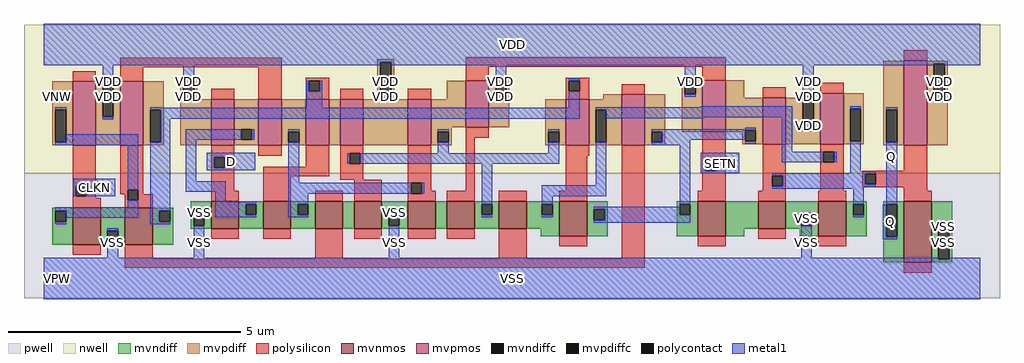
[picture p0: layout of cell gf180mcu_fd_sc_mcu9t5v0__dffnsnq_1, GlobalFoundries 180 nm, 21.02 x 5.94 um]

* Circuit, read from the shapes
.subckt gf180mcu_fd_sc_mcu9t5v0__dffnsnq_1 D SETN CLKN Q VDD VNW VPW VSS
XM1 VSS CLKN n1 VPW nfet_06v0 w=0.79u l=0.6u
XM2 n2 n1 VSS VPW nfet_06v0 w=0.79u l=0.6u
XM3 n3 D VSS VPW nfet_06v0 w=0.59u l=0.6u
XM4 n4 n2 n3 VPW nfet_06v0 w=0.59u l=0.6u
XM5 n5 n1 n4 VPW nfet_06v0 w=0.59u l=0.6u
XM6 VSS n6 n5 VPW nfet_06v0 w=0.59u l=0.6u
XM7 n7 n4 VSS VPW nfet_06v0 w=0.59u l=0.6u
XM8 n6 SETN n7 VPW nfet_06v0 w=0.59u l=0.6u
XM9 n8 n1 n6 VPW nfet_06v0 w=0.59u l=0.6u
XM10 n9 n2 n8 VPW nfet_06v0 w=0.75u l=0.6u
XM11 n10 SETN n9 VPW nfet_06v0 w=0.75u l=0.6u
XM12 VSS n11 n10 VPW nfet_06v0 w=0.59u l=0.6u
XM13 n11 n8 VSS VPW nfet_06v0 w=0.75u l=0.6u
XM14 VSS n11 Q VPW nfet_06v0 w=1.32u l=0.6u
XM15 VDD CLKN n1 VNW pfet_06v0 w=1.38u l=0.5u
XM16 n2 n1 VDD VNW pfet_06v0 w=1.38u l=0.5u
XM17 n3 D VDD VNW pfet_06v0 w=1u l=0.5u
XM18 n4 n1 n3 VNW pfet_06v0 w=1u l=0.5u
XM19 n12 n2 n4 VNW pfet_06v0 w=1u l=0.5u
XM20 VDD n6 n12 VNW pfet_06v0 w=1u l=0.5u
XM21 n6 n4 VDD VNW pfet_06v0 w=1u l=0.5u
XM22 VDD SETN n6 VNW pfet_06v0 w=1u l=0.5u
XM23 n8 n2 n6 VNW pfet_06v0 w=1u l=0.5u
XM24 n9 n1 n8 VNW pfet_06v0 w=1.1u l=0.5u
XM25 n9 SETN VDD VNW pfet_06v0 w=1.1u l=0.5u
XM26 VDD n11 n9 VNW pfet_06v0 w=1u l=0.5u
XM27 n11 n8 VDD VNW pfet_06v0 w=1.1u l=0.5u
XM28 VDD n11 Q VNW pfet_06v0 w=1.83u l=0.5u
.ends

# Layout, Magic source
magic
tech gf180mcuD
magscale 1 10
<< nwell >>
rect -86 453 4118 1094
<< pwell >>
rect -86 -86 4118 453
<< mvnmos >>
rect 124 146 244 304
rect 348 146 468 304
rect 720 215 840 333
rect 944 215 1064 333
rect 1168 215 1288 333
rect 1336 215 1456 333
rect 1568 215 1688 333
rect 1736 215 1856 333
rect 1960 215 2080 333
rect 2220 183 2340 333
rect 2816 183 2936 333
rect 3076 215 3196 333
rect 3336 183 3456 333
rect 3704 69 3824 333
<< mvpmos >>
rect 124 573 224 849
rect 328 573 428 849
rect 720 573 820 773
rect 924 573 1024 773
rect 1128 573 1228 773
rect 1276 573 1376 773
rect 1568 573 1668 773
rect 1816 651 1916 851
rect 2248 573 2348 773
rect 2488 573 2588 793
rect 2836 633 2936 853
rect 3096 579 3196 779
rect 3344 579 3444 799
rect 3704 573 3804 939
<< mvndiff >>
rect 36 291 124 304
rect 36 245 49 291
rect 95 245 124 291
rect 36 146 124 245
rect 244 205 348 304
rect 244 159 273 205
rect 319 159 348 205
rect 244 146 348 159
rect 468 291 556 304
rect 468 245 497 291
rect 543 245 556 291
rect 468 146 556 245
rect 632 274 720 333
rect 632 228 645 274
rect 691 228 720 274
rect 632 215 720 228
rect 840 320 944 333
rect 840 274 869 320
rect 915 274 944 320
rect 840 215 944 274
rect 1064 320 1168 333
rect 1064 274 1093 320
rect 1139 274 1168 320
rect 1064 215 1168 274
rect 1288 215 1336 333
rect 1456 274 1568 333
rect 1456 228 1485 274
rect 1531 228 1568 274
rect 1456 215 1568 228
rect 1688 215 1736 333
rect 1856 320 1960 333
rect 1856 274 1885 320
rect 1931 274 1960 320
rect 1856 215 1960 274
rect 2080 320 2220 333
rect 2080 274 2145 320
rect 2191 274 2220 320
rect 2080 215 2220 274
rect 2140 183 2220 215
rect 2340 298 2428 333
rect 2340 252 2369 298
rect 2415 252 2428 298
rect 2340 183 2428 252
rect 2725 320 2816 333
rect 2725 274 2738 320
rect 2784 274 2816 320
rect 2725 183 2816 274
rect 2936 215 3076 333
rect 3196 273 3336 333
rect 3196 227 3261 273
rect 3307 227 3336 273
rect 3196 215 3336 227
rect 2936 183 3016 215
rect 3256 183 3336 215
rect 3456 320 3544 333
rect 3456 274 3485 320
rect 3531 274 3544 320
rect 3456 183 3544 274
rect 3616 320 3704 333
rect 3616 180 3629 320
rect 3675 180 3704 320
rect 3616 69 3704 180
rect 3824 222 3912 333
rect 3824 82 3853 222
rect 3899 82 3912 222
rect 3824 69 3912 82
<< mvpdiff >>
rect 36 726 124 849
rect 36 586 49 726
rect 95 586 124 726
rect 36 573 124 586
rect 224 836 328 849
rect 224 696 253 836
rect 299 696 328 836
rect 224 573 328 696
rect 428 726 516 849
rect 428 586 457 726
rect 503 586 516 726
rect 428 573 516 586
rect 588 838 660 851
rect 588 792 601 838
rect 647 792 660 838
rect 588 773 660 792
rect 1436 932 1508 945
rect 1436 792 1449 932
rect 1495 792 1508 932
rect 1436 773 1508 792
rect 1736 773 1816 851
rect 588 573 720 773
rect 820 643 924 773
rect 820 597 849 643
rect 895 597 924 643
rect 820 573 924 597
rect 1024 632 1128 773
rect 1024 586 1053 632
rect 1099 586 1128 632
rect 1024 573 1128 586
rect 1228 573 1276 773
rect 1376 573 1568 773
rect 1668 651 1816 773
rect 1916 838 2004 851
rect 1916 792 1945 838
rect 1991 792 2004 838
rect 1916 651 2004 792
rect 2748 840 2836 853
rect 2748 794 2761 840
rect 2807 794 2836 840
rect 2408 773 2488 793
rect 1668 632 1756 651
rect 1668 586 1697 632
rect 1743 586 1756 632
rect 1668 573 1756 586
rect 2160 632 2248 773
rect 2160 586 2173 632
rect 2219 586 2248 632
rect 2160 573 2248 586
rect 2348 726 2488 773
rect 2348 586 2377 726
rect 2423 586 2488 726
rect 2348 573 2488 586
rect 2588 632 2676 793
rect 2748 633 2836 794
rect 2936 779 3016 853
rect 3256 786 3344 799
rect 3256 779 3269 786
rect 2936 638 3096 779
rect 2936 633 3021 638
rect 2588 586 2617 632
rect 2663 586 2676 632
rect 2588 573 2676 586
rect 3008 592 3021 633
rect 3067 592 3096 638
rect 3008 579 3096 592
rect 3196 646 3269 779
rect 3315 646 3344 786
rect 3196 579 3344 646
rect 3444 732 3532 799
rect 3444 592 3473 732
rect 3519 592 3532 732
rect 3444 579 3532 592
rect 3616 726 3704 939
rect 3616 586 3629 726
rect 3675 586 3704 726
rect 3616 573 3704 586
rect 3804 926 3892 939
rect 3804 786 3833 926
rect 3879 786 3892 926
rect 3804 573 3892 786
<< mvndiffc >>
rect 49 245 95 291
rect 273 159 319 205
rect 497 245 543 291
rect 645 228 691 274
rect 869 274 915 320
rect 1093 274 1139 320
rect 1485 228 1531 274
rect 1885 274 1931 320
rect 2145 274 2191 320
rect 2369 252 2415 298
rect 2738 274 2784 320
rect 3261 227 3307 273
rect 3485 274 3531 320
rect 3629 180 3675 320
rect 3853 82 3899 222
<< mvpdiffc >>
rect 49 586 95 726
rect 253 696 299 836
rect 457 586 503 726
rect 601 792 647 838
rect 1449 792 1495 932
rect 849 597 895 643
rect 1053 586 1099 632
rect 1945 792 1991 838
rect 2761 794 2807 840
rect 1697 586 1743 632
rect 2173 586 2219 632
rect 2377 586 2423 726
rect 2617 586 2663 632
rect 3021 592 3067 638
rect 3269 646 3315 786
rect 3473 592 3519 732
rect 3629 586 3675 726
rect 3833 786 3879 926
<< polysilicon >>
rect 328 911 1024 951
rect 124 849 224 893
rect 328 849 428 911
rect 720 773 820 817
rect 924 773 1024 911
rect 1128 852 1228 865
rect 1128 806 1141 852
rect 1187 806 1228 852
rect 1128 773 1228 806
rect 1276 773 1376 817
rect 1816 913 2936 953
rect 3704 939 3804 983
rect 1816 851 1916 913
rect 2248 852 2348 865
rect 2836 853 2936 913
rect 1568 773 1668 817
rect 2248 806 2261 852
rect 2307 806 2348 852
rect 2248 773 2348 806
rect 2488 793 2588 837
rect 1816 607 1916 651
rect 124 400 224 573
rect 124 354 137 400
rect 183 354 224 400
rect 328 383 428 573
rect 328 364 361 383
rect 124 348 224 354
rect 124 304 244 348
rect 348 337 361 364
rect 407 364 428 383
rect 720 523 820 573
rect 924 529 1024 573
rect 720 477 733 523
rect 779 477 820 523
rect 1128 481 1228 573
rect 720 377 820 477
rect 944 441 1228 481
rect 1276 540 1376 573
rect 1276 494 1317 540
rect 1363 494 1376 540
rect 407 337 468 364
rect 348 304 468 337
rect 720 333 840 377
rect 944 333 1064 441
rect 1276 425 1376 494
rect 1168 333 1288 377
rect 1336 333 1456 425
rect 1568 412 1668 573
rect 1568 366 1581 412
rect 1627 377 1668 412
rect 1816 377 1856 607
rect 3096 779 3196 823
rect 3344 799 3444 843
rect 2248 529 2348 573
rect 2248 377 2340 529
rect 1627 366 1688 377
rect 1568 333 1688 366
rect 1736 333 1856 377
rect 1960 333 2080 377
rect 2220 333 2340 377
rect 720 171 840 215
rect 944 171 1064 215
rect 124 102 244 146
rect 348 86 468 146
rect 1168 86 1288 215
rect 1336 171 1456 215
rect 1568 171 1688 215
rect 1736 171 1856 215
rect 1960 86 2080 215
rect 2220 139 2340 183
rect 2488 86 2588 573
rect 2836 510 2936 633
rect 2836 464 2849 510
rect 2895 464 2936 510
rect 2836 377 2936 464
rect 3096 443 3196 579
rect 3096 397 3137 443
rect 3183 397 3196 443
rect 3096 377 3196 397
rect 3344 546 3444 579
rect 3344 500 3357 546
rect 3403 500 3444 546
rect 3344 377 3444 500
rect 3704 465 3804 573
rect 3524 452 3804 465
rect 3524 406 3537 452
rect 3583 406 3804 452
rect 3524 393 3804 406
rect 3704 377 3804 393
rect 2816 333 2936 377
rect 3076 333 3196 377
rect 3336 333 3456 377
rect 3704 333 3824 377
rect 2816 139 2936 183
rect 3076 171 3196 215
rect 3336 139 3456 183
rect 348 46 2588 86
rect 3704 25 3824 69
<< polycontact >>
rect 1141 806 1187 852
rect 2261 806 2307 852
rect 137 354 183 400
rect 361 337 407 383
rect 733 477 779 523
rect 1317 494 1363 540
rect 1581 366 1627 412
rect 2849 464 2895 510
rect 3137 397 3183 443
rect 3357 500 3403 546
rect 3537 406 3583 452
<< metal1 >>
rect 0 932 4032 1098
rect 0 918 1449 932
rect 253 836 299 918
rect 49 726 95 737
rect 601 838 647 918
rect 601 781 647 792
rect 1130 806 1141 852
rect 1187 806 1198 852
rect 253 685 299 696
rect 457 735 503 737
rect 1130 735 1198 806
rect 1495 926 4032 932
rect 1495 918 3833 926
rect 1449 781 1495 792
rect 1945 838 1991 918
rect 1945 781 1991 792
rect 2261 852 2307 863
rect 2261 735 2307 806
rect 2761 840 2807 918
rect 2761 783 2807 794
rect 3269 786 3315 918
rect 2826 737 3223 741
rect 457 726 2307 735
rect 95 586 407 621
rect 49 575 407 586
rect 126 400 306 430
rect 126 354 137 400
rect 183 354 306 400
rect 361 383 407 575
rect 361 308 407 337
rect 49 291 407 308
rect 95 262 407 291
rect 503 689 2307 726
rect 2377 726 3223 737
rect 503 586 543 689
rect 457 291 543 586
rect 610 597 849 643
rect 895 597 906 643
rect 1053 632 1099 643
rect 610 420 656 597
rect 702 523 910 542
rect 702 477 733 523
rect 779 477 910 523
rect 702 466 910 477
rect 610 374 783 420
rect 49 234 95 245
rect 457 245 497 291
rect 737 331 783 374
rect 1053 412 1099 586
rect 1697 632 1743 643
rect 1697 540 1743 586
rect 2173 632 2219 643
rect 2173 540 2219 586
rect 1306 494 1317 540
rect 1363 494 2219 540
rect 2423 695 3223 726
rect 2423 691 2845 695
rect 3021 643 3067 649
rect 1053 366 1581 412
rect 1627 366 1638 412
rect 737 320 915 331
rect 457 234 543 245
rect 645 274 691 285
rect 737 274 869 320
rect 737 263 915 274
rect 1053 320 1139 366
rect 1053 274 1093 320
rect 1885 320 1931 494
rect 2377 401 2423 586
rect 2617 638 3067 643
rect 2617 632 3021 638
rect 2663 597 3021 632
rect 2663 586 2784 597
rect 2617 575 2784 586
rect 3021 581 3067 592
rect 1053 263 1139 274
rect 1485 274 1531 285
rect 273 205 319 216
rect 273 90 319 159
rect 645 90 691 228
rect 1885 263 1931 274
rect 2145 355 2423 401
rect 2145 320 2191 355
rect 2738 320 2784 575
rect 3177 546 3223 695
rect 3879 918 4032 926
rect 3833 775 3879 786
rect 3269 635 3315 646
rect 3473 732 3519 743
rect 2830 510 2995 542
rect 2830 464 2849 510
rect 2895 464 2995 510
rect 3177 500 3357 546
rect 3403 500 3414 546
rect 2830 453 2995 464
rect 3473 463 3519 592
rect 3629 726 3675 737
rect 3473 454 3583 463
rect 3137 452 3583 454
rect 3137 443 3537 452
rect 3183 406 3537 443
rect 3183 397 3583 406
rect 3137 395 3583 397
rect 3137 386 3531 395
rect 2145 263 2191 274
rect 2369 298 2738 309
rect 2415 274 2738 298
rect 3485 320 3531 386
rect 2415 252 2784 274
rect 2369 241 2784 252
rect 3261 273 3307 284
rect 1485 90 1531 228
rect 3629 320 3675 586
rect 3485 263 3531 274
rect 3261 90 3307 227
rect 3614 180 3629 318
rect 3614 169 3675 180
rect 3853 222 3899 233
rect 0 82 3853 90
rect 3899 82 4032 90
rect 0 -90 4032 82
<< labels >>
flabel metal1 s 126 354 306 430 0 FreeSans 200 0 0 0 CLKN
port 3 nsew clock input
flabel metal1 s 702 466 910 542 0 FreeSans 200 0 0 0 D
port 1 nsew default input
flabel metal1 s 3629 318 3675 737 0 FreeSans 200 0 0 0 Q
port 4 nsew default output
flabel metal1 s 2830 453 2995 542 0 FreeSans 200 0 0 0 SETN
port 2 nsew default input
flabel metal1 s 0 918 4032 1098 0 FreeSans 200 0 0 0 VDD
port 5 nsew power bidirectional abutment
flabel metal1 s 1485 284 1531 285 0 FreeSans 200 0 0 0 VSS
port 8 nsew ground bidirectional abutment
flabel nwell s 10 734 110 834 0 FreeSans 400 0 0 0 VNW
port 6 nsew power bidirectional
flabel pwell s 10 -50 110 50 0 FreeSans 400 0 0 0 VPW
port 7 nsew ground bidirectional
rlabel metal1 s 3614 169 3675 318 1 Q
port 4 nsew default output
rlabel metal1 s 3833 783 3879 918 1 VDD
port 5 nsew power bidirectional abutment
rlabel metal1 s 3269 783 3315 918 1 VDD
port 5 nsew power bidirectional abutment
rlabel metal1 s 2761 783 2807 918 1 VDD
port 5 nsew power bidirectional abutment
rlabel metal1 s 1945 783 1991 918 1 VDD
port 5 nsew power bidirectional abutment
rlabel metal1 s 1449 783 1495 918 1 VDD
port 5 nsew power bidirectional abutment
rlabel metal1 s 601 783 647 918 1 VDD
port 5 nsew power bidirectional abutment
rlabel metal1 s 253 783 299 918 1 VDD
port 5 nsew power bidirectional abutment
rlabel metal1 s 3833 781 3879 783 1 VDD
port 5 nsew power bidirectional abutment
rlabel metal1 s 3269 781 3315 783 1 VDD
port 5 nsew power bidirectional abutment
rlabel metal1 s 1945 781 1991 783 1 VDD
port 5 nsew power bidirectional abutment
rlabel metal1 s 1449 781 1495 783 1 VDD
port 5 nsew power bidirectional abutment
rlabel metal1 s 601 781 647 783 1 VDD
port 5 nsew power bidirectional abutment
rlabel metal1 s 253 781 299 783 1 VDD
port 5 nsew power bidirectional abutment
rlabel metal1 s 3833 775 3879 781 1 VDD
port 5 nsew power bidirectional abutment
rlabel metal1 s 3269 775 3315 781 1 VDD
port 5 nsew power bidirectional abutment
rlabel metal1 s 253 775 299 781 1 VDD
port 5 nsew power bidirectional abutment
rlabel metal1 s 3269 685 3315 775 1 VDD
port 5 nsew power bidirectional abutment
rlabel metal1 s 253 685 299 775 1 VDD
port 5 nsew power bidirectional abutment
rlabel metal1 s 3269 635 3315 685 1 VDD
port 5 nsew power bidirectional abutment
rlabel metal1 s 645 284 691 285 1 VSS
port 8 nsew ground bidirectional abutment
rlabel metal1 s 3261 233 3307 284 1 VSS
port 8 nsew ground bidirectional abutment
rlabel metal1 s 1485 233 1531 284 1 VSS
port 8 nsew ground bidirectional abutment
rlabel metal1 s 645 233 691 284 1 VSS
port 8 nsew ground bidirectional abutment
rlabel metal1 s 3853 216 3899 233 1 VSS
port 8 nsew ground bidirectional abutment
rlabel metal1 s 3261 216 3307 233 1 VSS
port 8 nsew ground bidirectional abutment
rlabel metal1 s 1485 216 1531 233 1 VSS
port 8 nsew ground bidirectional abutment
rlabel metal1 s 645 216 691 233 1 VSS
port 8 nsew ground bidirectional abutment
rlabel metal1 s 3853 90 3899 216 1 VSS
port 8 nsew ground bidirectional abutment
rlabel metal1 s 3261 90 3307 216 1 VSS
port 8 nsew ground bidirectional abutment
rlabel metal1 s 1485 90 1531 216 1 VSS
port 8 nsew ground bidirectional abutment
rlabel metal1 s 645 90 691 216 1 VSS
port 8 nsew ground bidirectional abutment
rlabel metal1 s 273 90 319 216 1 VSS
port 8 nsew ground bidirectional abutment
rlabel metal1 s 0 -90 4032 90 1 VSS
port 8 nsew ground bidirectional abutment
<< properties >>
string FIXED_BBOX 0 0 4032 1008
string GDS_END 561060
string GDS_FILE $PDKPATH/libs.ref/gf180mcu_fd_sc_mcu9t5v0/gds/gf180mcu_fd_sc_mcu9t5v0.gds
string GDS_START 552430
string LEFclass core
string LEFsite GF018hv5v_green_sc9
string LEFsymmetry X Y
<< end >>
